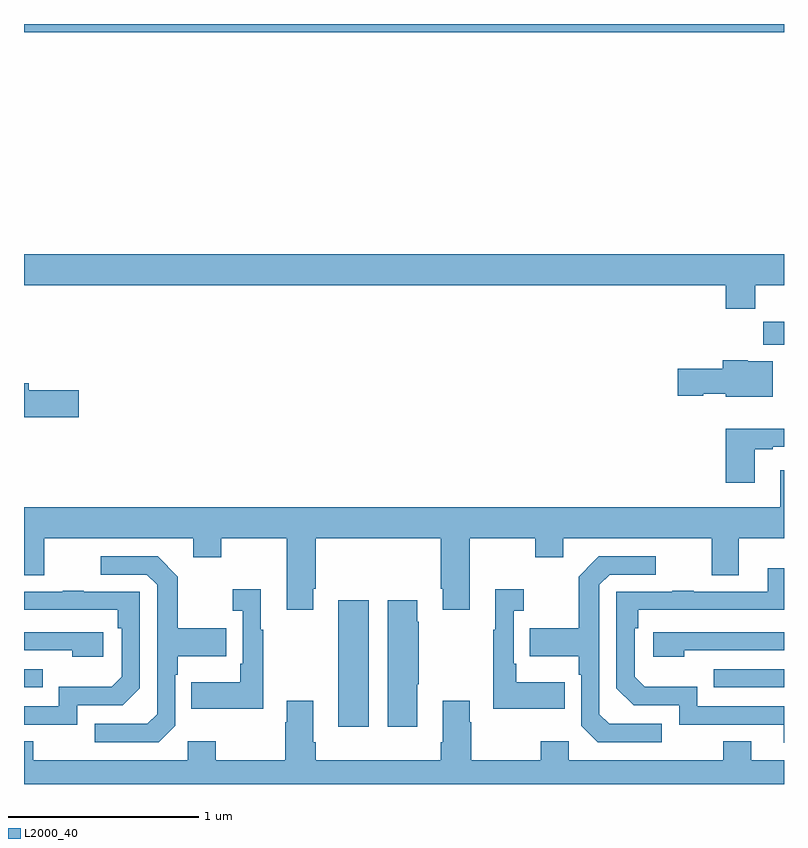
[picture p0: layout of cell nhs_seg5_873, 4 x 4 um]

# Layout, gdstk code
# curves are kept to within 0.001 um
import gdstk
lib = gdstk.Library(unit=1e-6, precision=1e-09)
def R(c, l, rs):  # rectangles x0, y0, x1, y1
    for r in rs: c.add(gdstk.rectangle(r[:2], r[2:], *l))
def P(c, l, *ps):  # polygons
    for p in ps: c.add(gdstk.Polygon(p, *l))
L2000_40 = (2000, 40)

nhs_seg5_873 = lib.new_cell('nhs_seg5_873')
R(nhs_seg5_873, L2000_40, [(168.653,857.1,168.814,857.767), (167,857.307,167.099,857.403), (170.629,857.307,171,857.403), (170.89,859.112,171,859.231), (167,860.756,171,860.799)])
P(nhs_seg5_873, L2000_40, [(170.849,859.424),(171,859.424),(171,859.588),(167,859.588),(167,859.424),(170.693,859.424),(170.693,859.3),(170.849,859.3)],
  [(170.941,859.024),(170.808,859.024),(170.808,859.03),(170.678,859.03),(170.678,858.984),(170.442,858.984),(170.442,858.842),(170.574,858.842),(170.574,858.854),(170.694,858.854),(170.694,858.836),(170.941,858.836)],
  [(167.287,858.872),(167.026,858.872),(167.026,858.908),(167,858.908),(167,858.73),(167.287,858.73)],
  [(170.845,858.561),(170.941,858.561),(170.941,858.573),(171,858.573),(171,858.67),(170.693,858.67),(170.693,858.384),(170.845,858.384)],
  [(168.523,857.827),(168.536,857.827),(168.536,858.092),(169.193,858.092),(169.193,857.827),(169.205,857.827),(169.205,857.715),(169.345,857.715),(169.345,858.092),(169.69,858.092),(169.69,857.993),(169.837,857.993),(169.837,858.092),(170.621,858.092),(170.621,857.898),(170.761,857.898),(170.761,858.092),(171,858.092),(171,858.451),(170.981,858.451),(170.981,858.256),(167,858.256),(167,857.898),(167.107,857.898),(167.107,858.092),(167.891,858.092),(167.891,857.993),(168.039,857.993),(168.039,858.092),(168.383,858.092),(168.383,857.715),(168.523,857.715)],
  [(170.356,857.115),(170.079,857.115),(170.028,857.166),(170.028,857.847),(170.082,857.901),(170.326,857.901),(170.326,857.997),(170.025,857.997),(169.92,857.891),(169.92,857.619),(169.663,857.619),(169.663,857.471),(169.92,857.471),(169.92,857.375),(169.932,857.375),(169.932,857.106),(170.019,857.019),(170.356,857.019)],
  [(167.796,857.106),(167.796,857.375),(167.809,857.375),(167.809,857.471),(168.065,857.471),(168.065,857.619),(167.809,857.619),(167.809,857.891),(167.703,857.997),(167.403,857.997),(167.403,857.901),(167.646,857.901),(167.7,857.847),(167.7,857.166),(167.649,857.115),(167.373,857.115),(167.373,857.019),(167.709,857.019)],
  [(171,857.208),(170.544,857.208),(170.544,857.311),(170.267,857.311),(170.214,857.364),(170.214,857.618),(170.234,857.618),(170.234,857.715),(171,857.716),(171,857.935),(170.915,857.935),(170.915,857.811),(170.525,857.811),(170.525,857.816),(170.413,857.816),(170.413,857.811),(170.118,857.811),(170.118,857.304),(170.208,857.214),(170.448,857.214),(170.448,857.112),(170.999,857.112),(170.999,857.016)],
  [(168.259,857.611),(168.247,857.611),(168.247,857.824),(168.099,857.824),(168.099,857.711),(168.15,857.711),(168.15,857.431),(168.138,857.431),(168.138,857.335),(167.881,857.335),(167.881,857.195),(168.259,857.195)],
  [(169.847,857.335),(169.591,857.335),(169.591,857.431),(169.578,857.431),(169.578,857.711),(169.63,857.711),(169.63,857.824),(169.481,857.824),(169.481,857.611),(169.47,857.611),(169.47,857.195),(169.847,857.195)],
  [(167.28,857.214),(167.52,857.214),(167.61,857.304),(167.61,857.811),(167.315,857.811),(167.315,857.816),(167.203,857.816),(167.203,857.811),(167,857.811),(167,857.715),(167.494,857.715),(167.494,857.618),(167.514,857.618),(167.514,857.364),(167.461,857.311),(167.184,857.311),(167.184,857.208),(167,857.208),(167,857.112),(167.28,857.112)],
  [(169.069,857.323),(169.077,857.323),(169.077,857.654),(169.069,857.654),(169.069,857.767),(168.914,857.767),(168.914,857.1),(169.069,857.1)],
  [(167.416,857.598),(167,857.598),(167,857.502),(167.255,857.502),(167.255,857.468),(167.416,857.468)],
  [(170.474,857.502),(171,857.502),(171,857.598),(170.313,857.598),(170.313,857.468),(170.474,857.468)],
  [(171,856.924),(170.827,856.924),(170.827,857.023),(170.68,857.023),(170.68,856.924),(169.866,856.924),(169.866,857.023),(169.72,857.023),(169.72,856.924),(169.353,856.924),(169.353,857.123),(169.345,857.123),(169.345,857.236),(169.205,857.236),(169.205,857.02),(169.193,857.02),(169.193,856.924),(168.536,856.924),(168.536,857.02),(168.523,857.02),(168.523,857.236),(168.383,857.236),(168.383,857.123),(168.376,857.123),(168.376,856.924),(168.009,856.924),(168.009,857.023),(167.862,857.023),(167.862,856.924),(167.049,856.924),(167.049,857.023),(167,857.023),(167,856.799),(171,856.799)])

lib.write_gds('nhs_seg5_873.gds')
